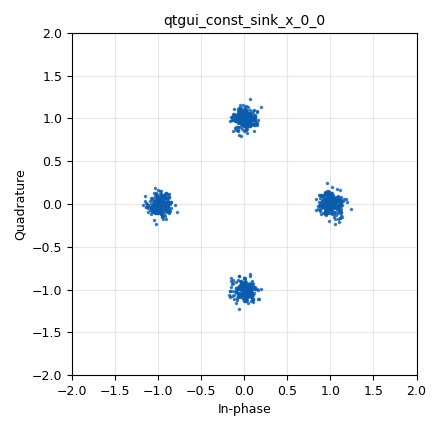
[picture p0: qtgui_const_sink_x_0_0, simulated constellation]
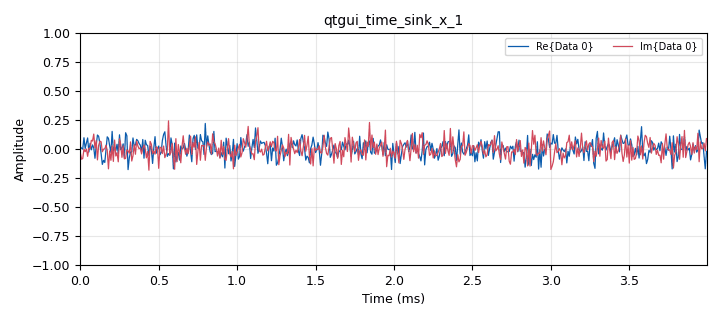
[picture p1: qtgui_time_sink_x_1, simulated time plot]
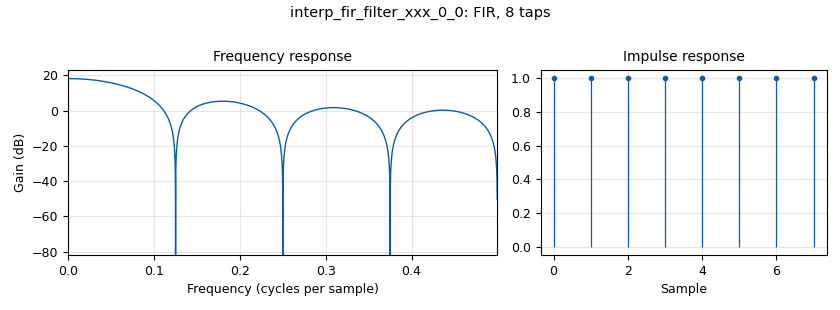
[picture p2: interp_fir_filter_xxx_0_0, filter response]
options:
  parameters:
    generate_options: qt_gui
    id: video_homero
    output_language: python
    title: Not titled yet
  states: {}

blocks:
- name: Constelacion
  id: variable
  parameters:
    value: (1, 1j, -1, -1j)
  states: {}
- name: M
  id: variable
  parameters:
    value: '4'
  states: {}
- name: Nbps
  id: variable
  parameters:
    value: int(math.log(M,2))
  states: {}
- name: Rb
  id: variable
  parameters:
    value: '32000'
  states: {}
- name: Rs
  id: variable
  parameters:
    value: Rb/Nbps
  states: {}
- name: Samp_rate
  id: variable
  parameters:
    value: Rs*Sps
  states: {}
- name: Sps
  id: variable
  parameters:
    value: len(h)
  states: {}
- name: h
  id: variable
  parameters:
    value: (1.,1.,1.,1.,1.,1.,1.,1.)
  states: {}
- name: r2
  id: variable
  parameters:
    value: math.sqrt(2)/2
  states: {}
- name: analog_const_source_x_0
  id: analog_const_source_x
  parameters:
    const: '1.'
    type: float
  states: {state: disabled}
- name: analog_noise_source_x_0
  id: analog_noise_source_x
  parameters:
    amp: '0.1'
    noise_type: analog.GR_GAUSSIAN
    seed: '0'
    type: complex
  states: {}
- name: analog_random_source_x_0
  id: analog_random_source_x
  parameters:
    max: '2'
    min: '0'
    num_samps: '1000'
    repeat: 'True'
    type: byte
  states: {}
- name: blocks_add_xx_0
  id: blocks_add_xx
  parameters:
    type: complex
  states: {}
- name: blocks_char_to_float_0
  id: blocks_char_to_float
  parameters:
    scale: '1'
  states: {state: disabled}
- name: blocks_char_to_float_0_0
  id: blocks_char_to_float
  parameters:
    scale: '1'
  states: {state: disabled}
- name: blocks_char_to_float_1
  id: blocks_char_to_float
  parameters:
    scale: '1'
  states: {state: disabled}
- name: blocks_multiply_const_vxx_0
  id: blocks_multiply_const_vxx
  parameters:
    const: 2*math.pi/M
    type: float
  states: {state: disabled}
- name: blocks_null_sink_0
  id: blocks_null_sink
  parameters:
    type: complex
  states: {}
- name: blocks_repack_bits_bb_0
  id: blocks_repack_bits_bb
  parameters:
    endianness: gr.GR_LSB_FIRST
    k: '1'
    l: Nbps
  states: {}
- name: digital_chunks_to_symbols_xx_0
  id: digital_chunks_to_symbols_xx
  parameters:
    dimension: '1'
    in_type: byte
    out_type: complex
    symbol_table: Constelacion
  states: {}
- name: epy_block_0
  id: epy_block
  parameters:
    _source_code: |
      """
      Embedded Python Blocks:

      Each time this file is saved, GRC will instantiate the first class it finds
      to get ports and parameters of your block. The arguments to __init__  will
      be the parameters. All of them are required to have default values!
      """

      import numpy as np
      from gnuradio import gr


      class blk(gr.sync_block):  # other base classes are basic_block, decim_block, interp_block
          """Embedded Python Block example - a simple multiply const"""

          def __init__(self, example_param=1.0):  # only default arguments here
              """este bloque fue creado por carlos viendo un video del profesor homero"""
              gr.sync_block.__init__(
                  self,
                  name='VCO complex',   # will show up in GRC
                  in_sig=[np.float32, np.float32],
                  out_sig=[np.complex64]
              )
              # if an attribute with the same name as a parameter is found,
              # a callback is registered (properties work, too).
              self.example_param = example_param

          def work(self, input_items, output_items):
          	Q=input_items[0]
          	A=input_items[1]
          	Sec=output_items[0]
          	Sec[:]=A*np.exp(1.j*Q)
          	return len(Sec)
    example_param: '1.0'
  states: {state: disabled}
- name: import_0
  id: import
  parameters:
    imports: import math
  states: {}
- name: interp_fir_filter_xxx_0
  id: interp_fir_filter_xxx
  parameters:
    interp: Sps
    taps: h
    type: ccc
  states: {state: disabled}
- name: interp_fir_filter_xxx_0_0
  id: interp_fir_filter_xxx
  parameters:
    interp: Sps
    taps: h
    type: ccc
  states: {}
- name: qtgui_const_sink_x_0
  id: qtgui_const_sink_x
  parameters:
    size: '1024'
    type: complex
  states: {state: disabled}
- name: qtgui_const_sink_x_0_0
  id: qtgui_const_sink_x
  parameters:
    size: '1024'
    type: complex
  states: {}
- name: qtgui_freq_sink_x_0
  id: qtgui_freq_sink_x
  parameters:
    average: '0.05'
    bw: Samp_rate
    fc: '0'
    fftsize: '1024'
    type: complex
  states: {state: disabled}
- name: qtgui_time_sink_x_0
  id: qtgui_time_sink_x
  parameters:
    label1: Binary
    marker1: '0'
    size: '32'
    srate: Rb
    stemplot: 'True'
    type: float
    width1: '3'
  states: {state: disabled}
- name: qtgui_time_sink_x_0_0
  id: qtgui_time_sink_x
  parameters:
    label1: M-PAM
    marker1: '0'
    size: 32//Nbps
    srate: Rs
    stemplot: 'True'
    type: float
    width1: '3'
  states: {state: disabled}
- name: qtgui_time_sink_x_0_0_0
  id: qtgui_time_sink_x
  parameters:
    label1: M-PAM Mod
    marker1: '0'
    size: 32//Nbps
    srate: Rs
    stemplot: 'True'
    type: float
    width1: '3'
  states: {state: disabled}
- name: qtgui_time_sink_x_0_0_1
  id: qtgui_time_sink_x
  parameters:
    label1: EC-Re
    label2: EC-Im
    marker1: '0'
    marker2: '0'
    size: 32//Nbps
    srate: Rs
    stemplot: 'True'
    type: complex
    width1: '3'
    width2: '3'
  states: {state: disabled}
- name: qtgui_time_sink_x_0_0_1_0
  id: qtgui_time_sink_x
  parameters:
    label1: EC-Re
    label2: EC-Im
    size: 32*Sps//Nbps
    srate: Samp_rate
    style2: '2'
    type: complex
    width1: '3'
    width2: '3'
  states: {state: disabled}
- name: qtgui_time_sink_x_1
  id: qtgui_time_sink_x
  parameters:
    size: '512'
    srate: Samp_rate
    type: complex
    width1: '3'
  states: {}

connections:
- [analog_const_source_x_0, '0', epy_block_0, '1']
- [analog_noise_source_x_0, '0', blocks_add_xx_0, '1']
- [analog_noise_source_x_0, '0', qtgui_time_sink_x_1, '0']
- [analog_random_source_x_0, '0', blocks_char_to_float_0, '0']
- [analog_random_source_x_0, '0', blocks_repack_bits_bb_0, '0']
- [blocks_add_xx_0, '0', blocks_null_sink_0, '0']
- [blocks_add_xx_0, '0', qtgui_const_sink_x_0_0, '0']
- [blocks_char_to_float_0, '0', qtgui_time_sink_x_0, '0']
- [blocks_char_to_float_0_0, '0', qtgui_time_sink_x_0_0, '0']
- [blocks_char_to_float_1, '0', blocks_multiply_const_vxx_0, '0']
- [blocks_multiply_const_vxx_0, '0', epy_block_0, '0']
- [blocks_multiply_const_vxx_0, '0', qtgui_time_sink_x_0_0_0, '0']
- [blocks_repack_bits_bb_0, '0', blocks_char_to_float_0_0, '0']
- [blocks_repack_bits_bb_0, '0', blocks_char_to_float_1, '0']
- [blocks_repack_bits_bb_0, '0', digital_chunks_to_symbols_xx_0, '0']
- [digital_chunks_to_symbols_xx_0, '0', interp_fir_filter_xxx_0_0, '0']
- [epy_block_0, '0', interp_fir_filter_xxx_0, '0']
- [epy_block_0, '0', qtgui_const_sink_x_0, '0']
- [epy_block_0, '0', qtgui_time_sink_x_0_0_1, '0']
- [interp_fir_filter_xxx_0, '0', blocks_add_xx_0, '0']
- [interp_fir_filter_xxx_0, '0', qtgui_freq_sink_x_0, '0']
- [interp_fir_filter_xxx_0, '0', qtgui_time_sink_x_0_0_1_0, '0']
- [interp_fir_filter_xxx_0_0, '0', blocks_add_xx_0, '0']

metadata:
  file_format: 1
